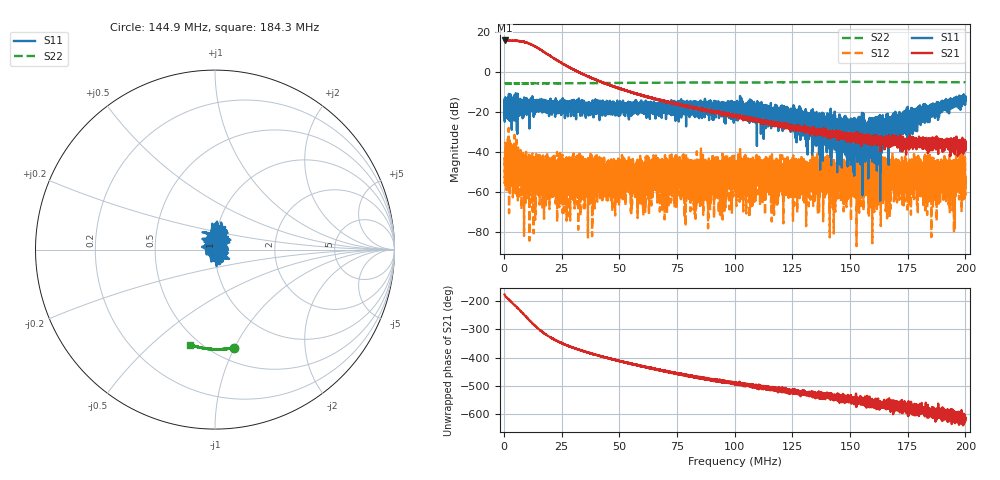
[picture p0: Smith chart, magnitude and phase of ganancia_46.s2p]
# Hz S DB R 50
! CMT, M5065, 19127446, 24.2.4/2
! Date: 11/8/2024 4:11:57 PM
! Data: Format (Calibration Info)
! Freq	S11:dB/Ang(F2)	S21:dB/Ang(F2)	S12:dB/Ang(F2)	S22:dB/Ang(F2)
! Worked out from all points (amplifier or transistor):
!   9000 points, 300 kHz to 200 MHz, reference 50 ohm
!   highest |S21| = 15.6 dB at 388.8 kHz (marker M1)
!   |S21| within 3 dB of that: start of sweep to 13.56 MHz
!   unconditionally stable (mu >= 1): start of sweep to end of sweep
!   at 33.59 MHz: K = 322.88, MAG = 0.4 dB, |S12| = -58.0 dB
!   at 100.2 MHz: K = 1295.44, MAG = -21.1 dB, |S12| = -48.7 dB
!   at 200 MHz: K = 11103.41, MAG = -36.8 dB, |S12| = -51.9 dB
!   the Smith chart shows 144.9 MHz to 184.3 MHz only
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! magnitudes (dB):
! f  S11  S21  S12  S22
! 300 kHz  -18.0  15.5  -43.8  -5.9
! 388.8 kHz  -24.3  15.6  -47.1  -5.8
! 12.99 MHz  -15.6  12.9  -52.9  -5.8
! 16.19 MHz  -16.3  10.8  -44.1  -5.8
! 33.59 MHz  -20.7  -1.0  -58.0  -5.7
! 66.87 MHz  -16.9  -14.1  -47.9  -5.5
! 100.2 MHz  -20.2  -22.6  -48.7  -5.4
! 104.8 MHz  -17.9  -23.1  -48.3  -5.4
! 106.8 MHz  -19.9  -23.4  -68.1  -5.4
! 110.4 MHz  -18.9  -24.4  -53.7  -5.3
! 116.8 MHz  -18.7  -26.5  -55.6  -5.3
! 124.2 MHz  -25.7  -28.5  -54.2  -5.2
! 130.6 MHz  -25.4  -29.1  -47.6  -5.2
! 133.4 MHz  -23.7  -29.5  -47.4  -5.2
! 143.3 MHz  -32.7  -31.4  -51.7  -5.1
! 150.6 MHz  -43.0  -33.4  -53.6  -5.1
! 155.1 MHz  -27.0  -31.9  -59.6  -5.1
! 157.9 MHz  -37.7  -34.9  -45.8  -5.1
! 166.7 MHz  -26.2  -34.7  -45.7  -5.1
! 194.6 MHz  -14.2  -35.8  -49.6  -5.3
! 198.5 MHz  -15.6  -37.7  -48.5  -5.3
! 200 MHz  -13.0  -38.5  -51.9  -5.3
